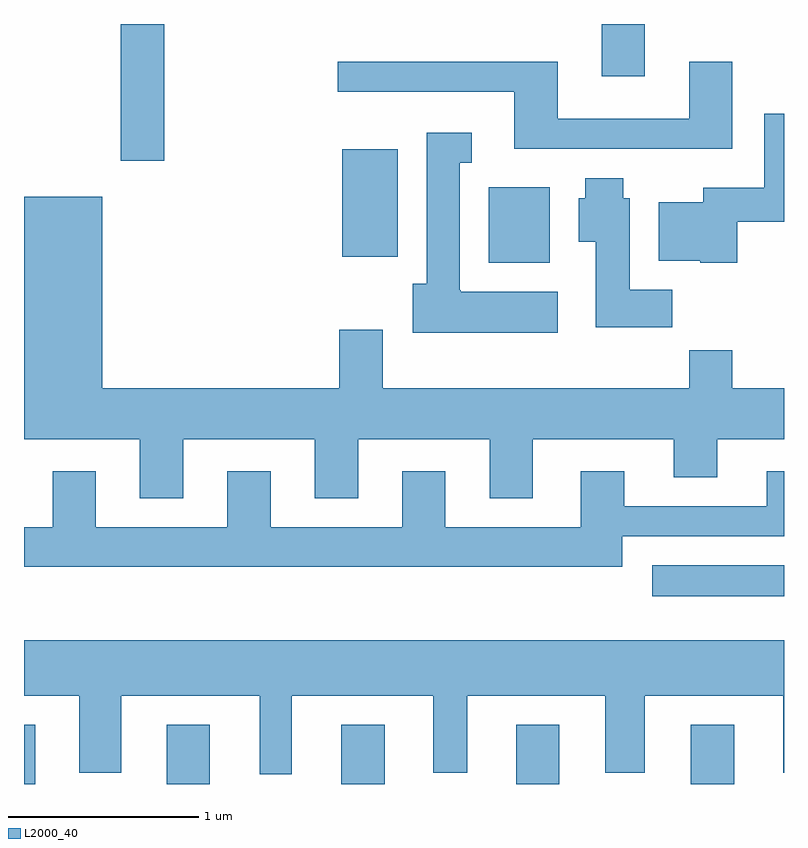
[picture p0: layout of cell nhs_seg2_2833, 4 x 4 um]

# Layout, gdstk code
import gdstk
lib = gdstk.Library(unit=1e-6, precision=1e-09)
def R(c, l, rs):  # rectangles x0, y0, x1, y1
    for r in rs: c.add(gdstk.rectangle(r[:2], r[2:], *l))
def A(c, l, x, y, w, h, nx, ny, dx, dy):  # array of equal rectangles
    R(c, l, [(x+i*dx, y+j*dy, x+i*dx+w, y+j*dy+h) for i in range(nx) for j in range(ny)])
def P(c, l, *ps):  # polygons
    for p in ps: c.add(gdstk.Polygon(p, *l))
L2000_40 = (2000, 40)

nhs_seg2_2833 = lib.new_cell('nhs_seg2_2833')
A(nhs_seg2_2833, L2000_40, 268.361, 1079.802, 0.228, 0.312, 4, 1, 0.92, 0)
R(nhs_seg2_2833, L2000_40, [(267.611,1079.802,267.669,1080.114), (270.918,1080.791,271.611,1080.954), (270.056,1082.546,270.379,1082.944), (269.286,1082.576,269.579,1083.144), (268.121,1083.081,268.349,1083.802), (270.651,1083.526,270.879,1083.802)])
P(nhs_seg2_2833, L2000_40, [(271.339,1083.604),(271.111,1083.604),(271.111,1083.304),(270.419,1083.304),(270.419,1083.604),(269.263,1083.604),(269.263,1083.446),(270.191,1083.446),(270.191,1083.146),(271.339,1083.146)],
  [(271.364,1082.761),(271.611,1082.761),(271.611,1083.329),(271.506,1083.329),(271.506,1082.939),(271.186,1082.939),(271.186,1082.864),(270.951,1082.864),(270.951,1082.556),(271.17,1082.556),(271.17,1082.546),(271.364,1082.546)],
  [(270.419,1082.394),(269.91,1082.394),(269.91,1082.4),(269.904,1082.4),(269.904,1083.071),(269.968,1083.071),(269.968,1083.229),(269.731,1083.229),(269.731,1082.434),(269.656,1082.434),(269.656,1082.176),(270.419,1082.176)],
  [(271.024,1082.404),(270.799,1082.404),(270.799,1082.884),(270.764,1082.884),(270.764,1082.989),(270.566,1082.989),(270.566,1082.884),(270.531,1082.884),(270.531,1082.656),(270.621,1082.656),(270.621,1082.206),(271.024,1082.206)],
  [(271.259,1081.616),(271.611,1081.616),(271.611,1081.884),(271.339,1081.884),(271.339,1082.084),(271.111,1082.084),(271.111,1081.884),(269.499,1081.884),(269.499,1082.194),(269.271,1082.194),(269.271,1081.884),(268.024,1081.884),(268.024,1082.894),(267.611,1082.894),(267.611,1081.616),(268.221,1081.616),(268.221,1081.306),(268.449,1081.306),(268.449,1081.616),(269.141,1081.616),(269.141,1081.306),(269.369,1081.306),(269.369,1081.616),(270.061,1081.616),(270.061,1081.306),(270.289,1081.306),(270.289,1081.616),(271.031,1081.616),(271.031,1081.416),(271.259,1081.416)],
  [(270.759,1081.106),(271.611,1081.106),(271.611,1081.449),(271.521,1081.449),(271.521,1081.264),(270.769,1081.264),(270.769,1081.449),(270.541,1081.449),(270.541,1081.154),(269.829,1081.154),(269.829,1081.449),(269.601,1081.449),(269.601,1081.154),(268.909,1081.154),(268.909,1081.449),(268.681,1081.449),(268.681,1081.154),(267.989,1081.154),(267.989,1081.449),(267.761,1081.449),(267.761,1081.154),(267.611,1081.154),(267.611,1080.946),(270.759,1080.946)],
  [(269.019,1080.266),(269.766,1080.266),(269.766,1079.861),(269.944,1079.861),(269.944,1080.266),(270.671,1080.266),(270.671,1079.861),(270.879,1079.861),(270.879,1080.266),(271.606,1080.266),(271.606,1079.861),(271.611,1079.861),(271.611,1080.559),(267.611,1080.559),(267.611,1080.266),(267.901,1080.266),(267.901,1079.861),(268.124,1079.861),(268.124,1080.266),(268.851,1080.266),(268.851,1079.853),(269.019,1079.853)])

lib.write_gds('nhs_seg2_2833.gds')
